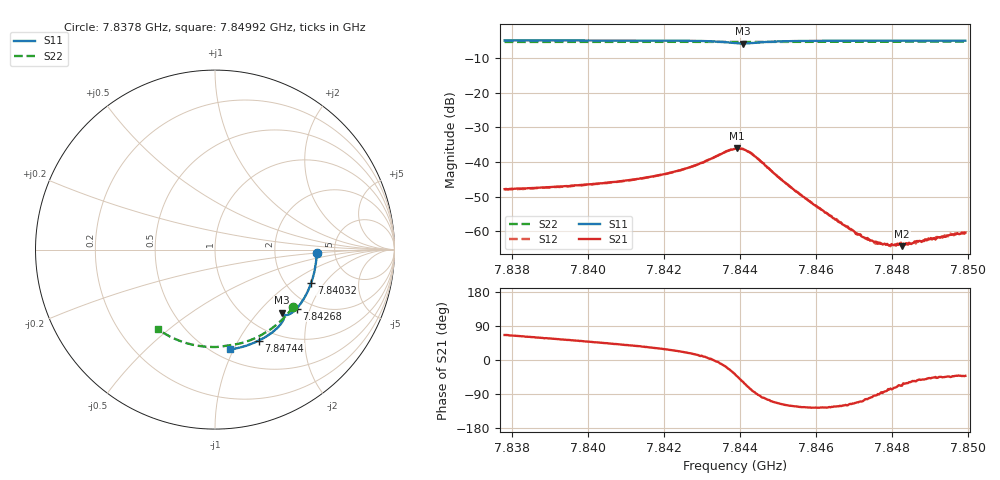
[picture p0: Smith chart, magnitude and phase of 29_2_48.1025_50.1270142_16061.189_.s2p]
#  HZ  S  RI  R  50.00
! Rohde & Schwarz Vector Network Analyzer
! Rohde-Schwarz,ZNB20-2Port,1311601062101988,3.16
! Created: UTC 12/23/2023, 3:37:28 AM
! freq[Hz]  re:S11  im:S11  re:S21  im:S21  re:S12  im:S12  re:S22  im:S22
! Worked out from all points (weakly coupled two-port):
!   401 points, 7.8378 GHz to 7.84992 GHz, reference 50 ohm
!   highest |S21| = -36.06 dB at 7.84392 GHz (marker M1); lowest = -64.2 dB at 7.84826 GHz (marker M2)
!   lowest |S11| = -5.8 dB at 7.84408 GHz (marker M3), VSWR 3.10, Z = 71.5 - j68.1 ohm
!   |S11| at or under -10 dB: nowhere
!   |S22| runs from -5.4 to -5.3 dB; largest |S21 - S12| = 0.00034
!   S11 on the Smith chart (normalised r, x): 7.8378 GHz: 3.60, -0.20; 7.84032 GHz: 2.73, -1.48; 7.84268 GHz: 1.69, -1.62; 7.84744 GHz: 0.82, -1.22; 7.84992 GHz: 0.60, -0.97
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7.837803e9  0.5664 -0.0187  0.00165 0.00371  0.00164 0.00364  0.4366 -0.3176
7.839833e9  0.5462 -0.1526  0.00302 0.00358  0.00296 0.0035  0.3392 -0.4212
7.840318e9  0.5365 -0.1837  0.00344 0.00352  0.00338 0.00348  0.3122 -0.4417
7.841257e9  0.5118 -0.2431  0.00451 0.00342  0.00447 0.0034  0.2563 -0.4768
7.841863e9  0.4911 -0.2801  0.00558 0.00328  0.00552 0.00328  0.2179 -0.4956
7.842682e9  0.4552 -0.3285  0.00804 0.00257  0.00799 0.0026  0.1642 -0.5161
7.843409e9  0.4078 -0.3626  0.0123 -0.000991  0.0123 -0.00115  0.1145 -0.5283
7.843681e9  0.3856 -0.3644  0.0134 -0.00562  0.0135 -0.00532  0.0961 -0.531
7.843863e9  0.375 -0.3591  0.0123 -0.00946  0.0124 -0.00943  0.0842 -0.5324
7.843924e9  0.3732 -0.3566  0.0114 -0.0108  0.0116 -0.0107  0.0803 -0.533
7.844075e9  0.3735 -0.3512  0.00827 -0.0131  0.00819 -0.013  0.0709 -0.5343
7.844348e9  0.3831 -0.355  0.00144 -0.0125  0.00169 -0.0124  0.0534 -0.5374
7.845045e9  0.3749 -0.4028  -0.00248 -0.00524  -0.00249 -0.00529  0.00506 -0.5425
7.845893e9  0.3335 -0.4493  -0.00148 -0.00206  -0.00148 -0.0021  -0.0549 -0.5409
7.847045e9  0.2677 -0.4947  -0.000358 -0.000848  -0.000345 -0.000852  -0.1348 -0.5276
7.847438e9  0.244 -0.5072  -0.00011 -0.000728  -8.83e-05 -0.000708  -0.1615 -0.5202
7.84759e9  0.2348 -0.5117  -3.49e-05 -0.000704  -6.03e-05 -0.000662  -0.1716 -0.5169
7.847923e9  0.2141 -0.5208  0.000132 -0.000609  0.000134 -0.00061  -0.1937 -0.5094
7.848257e9  0.1932 -0.5288  0.000234 -0.00057  0.000244 -0.000584  -0.2156 -0.5008
7.848317e9  0.1895 -0.5302  0.000294 -0.00057  0.000262 -0.000596  -0.2194 -0.4992
7.849711e9  0.0995 -0.554  0.000702 -0.000628  0.0007 -0.000604  -0.3053 -0.4527
7.849923e9  0.0856 -0.5561  0.000716 -0.00064  0.00071 -0.000643  -0.3177 -0.4443
